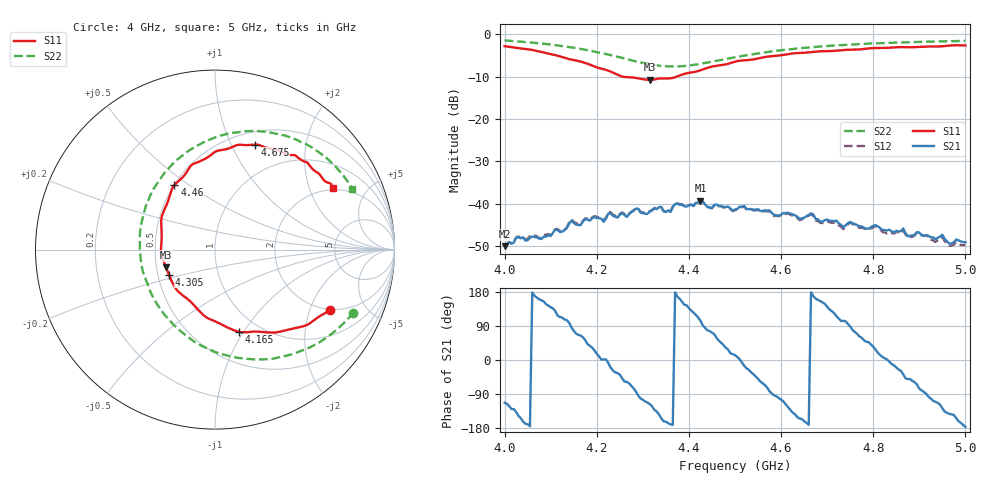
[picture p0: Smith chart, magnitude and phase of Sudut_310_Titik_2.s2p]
# Hz S RI R 50
! CMT, C1220, 16058040, 17.2.0/1
! Date: 15/08/2018 11:44:51
! Data: Format (Calibration Info)
! Freq  S11: Re/Im (F2)  S21: Re/Im (F2)  S12: Re/Im (F2)  S22: Re/Im (F2)
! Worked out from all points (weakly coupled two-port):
!   201 points, 4 GHz to 5 GHz, reference 50 ohm
!   highest |S21| = -39.28 dB at 4.425 GHz (marker M1); lowest = -50.1 dB at 4 GHz (marker M2)
!   lowest |S11| = -10.7 dB at 4.315 GHz (marker M3), VSWR 1.82, Z = 28.1 - j6.11 ohm
!   |S11| at or under -10 dB: 4.257 GHz to 4.373 GHz (116.5 MHz wide, 2.7 % of centre)
!   |S22| runs from -7.6 to -1.4 dB; largest |S21 - S12| = 0.00039
!   S11 on the Smith chart (normalised r, x): 4 GHz: 1.95, -2.77; 4.165 GHz: 0.80, -0.95; 4.305 GHz: 0.57, -0.17; 4.46 GHz: 0.50, +0.44; 4.675 GHz: 0.64, +1.23; 5 GHz: 1.93, +2.92
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4e9  0.6403 -0.3378  -0.00121 -0.0029  -0.0011 -0.00301  0.7709 -0.3509
4.025e9  0.5865 -0.3691  -0.0029 -0.00269  -0.00279 -0.00287  0.7231 -0.4043
4.125e9  0.2806 -0.4606  -0.00172 0.00432  -0.00185 0.00437  0.4395 -0.5795
4.145e9  0.2079 -0.4573  0.000402 0.00625  0.00022 0.0065  0.3635 -0.5983
4.165e9  0.1324 -0.4578  0.00238 0.00503  0.00243 0.00516  0.284 -0.611
4.17e9  0.1165 -0.4531  0.00308 0.00533  0.00309 0.00547  0.2632 -0.6115
4.215e9  -0.0331 -0.3857  0.00608 0.000166  0.0063 0.000264  0.0649 -0.5894
4.225e9  -0.0624 -0.3668  0.00756 -0.00105  0.00787 -0.000993  0.02 -0.5773
4.245e9  -0.1129 -0.314  0.00562 -0.00387  0.00576 -0.00395  -0.0657 -0.5403
4.285e9  -0.2265 -0.2044  0.00103 -0.00864  0.000944 -0.00879  -0.2277 -0.4223
4.305e9  -0.2571 -0.1394  -0.00252 -0.00713  -0.00264 -0.00727  -0.2917 -0.3489
4.315e9  -0.2728 -0.0997  -0.00356 -0.0072  -0.00369 -0.00725  -0.3209 -0.3068
4.335e9  -0.2985 -0.0334  -0.00732 -0.00533  -0.00743 -0.0053  -0.3675 -0.2151
4.36e9  -0.2978 0.0527  -0.00783 -0.00141  -0.00793 -0.00144  -0.4078 -0.0938
4.37e9  -0.2972 0.0929  -0.00989 0.000261  -0.01 0.00039  -0.4145 -0.0464
4.425e9  -0.2621 0.2689  -0.00257 0.0106  -0.00228 0.0105  -0.3929 0.2164
4.46e9  -0.2257 0.36  0.00511 0.0083  0.00526 0.00811  -0.3278 0.3606
4.5e9  -0.1443 0.4533  0.0083 0.00191  0.00814 0.00182  -0.2258 0.4868
4.67e9  0.2138 0.5843  -0.00727 0.00147  -0.00697 0.00154  0.2594 0.6578
4.675e9  0.222 0.5849  -0.00626 0.00205  -0.00593 0.00203  0.2716 0.6576
4.835e9  0.4859 0.4965  0.0049 -0.000378  0.00452 -0.000305  0.5858 0.537
5e9  0.6574 0.3413  -0.00348 -0.000209  -0.00324 -0.000309  0.7659 0.3375
